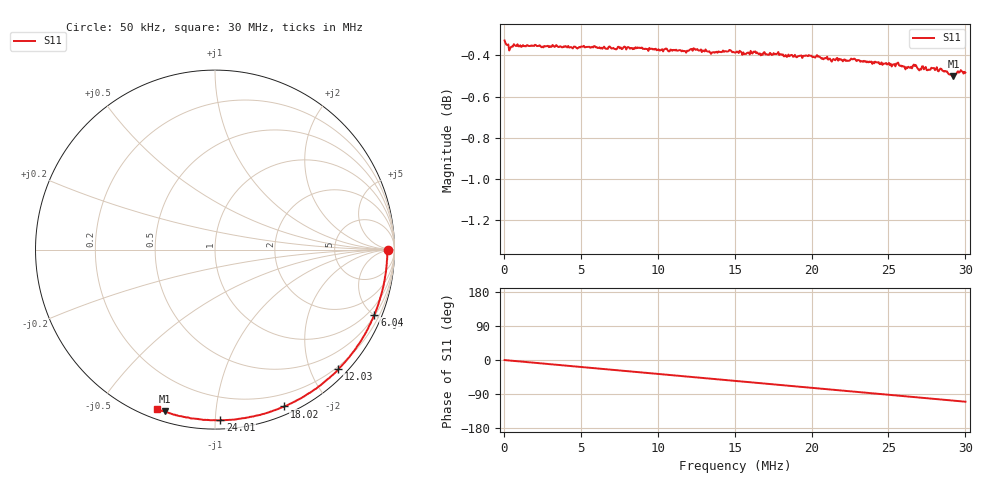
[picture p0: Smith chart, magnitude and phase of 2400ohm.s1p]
# HZ S RI R 50
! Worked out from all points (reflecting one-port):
!   501 points, 50 kHz to 30 MHz, reference 50 ohm
!   lowest |S11| = -0.5 dB at 29.22 MHz (marker M1), VSWR 34.81, Z = 2.21 - j36.8 ohm
!   phase of S11 starts at -0 deg and turns -110 deg over the sweep
!   S11 on the Smith chart (normalised r, x): 50 kHz: 53, -3; 6.04 MHz: 0.55, -5.04; 12.03 MHz: 0.15, -2.46; 18.02 MHz: 0.08, -1.53; 24.01 MHz: 0.05, -1.03; 30 MHz: 0.04, -0.70
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50000  0.9631 -0.00219
409400  0.9586 -0.0253
768800  0.9589 -0.0477
2146500  0.951 -0.1314
3823700  0.9308 -0.2322
5141500  0.9082 -0.3102
6040000  0.8884 -0.3623
7537500  0.8495 -0.4447
8675600  0.8152 -0.5057
9574100  0.7843 -0.5512
1.13112e7  0.7172 -0.6344
1.203e7  0.6878 -0.6663
1.3228e7  0.6338 -0.7172
1.5025e7  0.5469 -0.7848
1.63428e7  0.4792 -0.8286
1.802e7  0.3865 -0.874
1.87987e7  0.3419 -0.891
2.0416e7  0.2491 -0.9213
2.25125e7  0.123 -0.9446
2.401e7  0.0305 -0.9509
2.55075e7  -0.0594 -0.9489
2.62862e7  -0.1061 -0.943
2.67055e7  -0.1317 -0.9402
2.78436e7  -0.2006 -0.9268
2.84426e7  -0.2334 -0.9186
2.92213e7  -0.2798 -0.9017
2.98203e7  -0.3151 -0.8924
3e7  -0.3247 -0.8884
